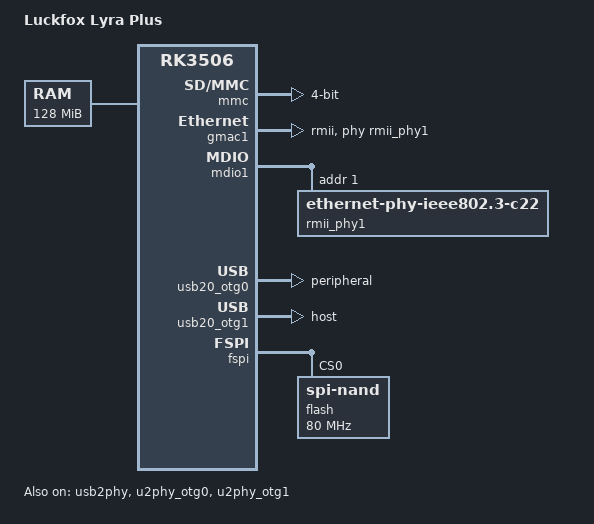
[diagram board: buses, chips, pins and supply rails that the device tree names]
// SPDX-License-Identifier: (GPL-2.0+ OR MIT)
/*
 * Luckfox Lyra Plus — Rockchip RK3506G2, SD-card boot, 10/100 Ethernet.
 *
 * Board DTS for the Rockchip vendor kernel (rockchip-linux/kernel, develop-6.1).
 * It includes the vendor SoC dtsi (rk3506.dtsi -> rk3502.dtsi + rk3506-pinctrl.dtsi),
 * so all peripherals/clocks/pinmux come from the vendor tree; we only wire the
 * board: console (FIQ-debugger on UART0 -> ttyFIQ0), removable microSD, and the
 * RMII Ethernet PHY. Console/SD/PHY stanzas are taken from the RK3506 EVB.
 */

/dts-v1/;

#include "rk3506.dtsi"

/ {
	model = "Luckfox Lyra Plus";
	compatible = "luckfox,lyra-plus", "rockchip,rk3506";

	memory@0 {
		device_type = "memory";
		/* Lyra Plus: 128 MiB on-chip DDR3 (the loader also passes the real size). */
		reg = <0x00000000 0x08000000>;
	};

	/* Debug console on UART0 via the Rockchip FIQ-debugger -> ttyFIQ0, 1.5 Mbps. */
	fiq_debugger: fiq-debugger {
		compatible = "rockchip,fiq-debugger";
		rockchip,serial-id = <0>;
		rockchip,wake-irq = <0>;
		rockchip,irq-mode-enable = <1>;
		rockchip,baudrate = <1500000>;	/* only 115200 or 1500000 */
		interrupts = <GIC_SPI 115 IRQ_TYPE_LEVEL_HIGH>;
	};
};

/* Removable microSD on the DW-MSHC controller (the EVB wires this same
 * controller to soldered SDIO Wi-Fi; here it's a real card slot). */
&mmc {
	bus-width = <4>;
	cap-sd-highspeed;
	disable-wp;
	no-mmc;
	no-sdio;
	pinctrl-names = "default";
	pinctrl-0 = <&sdmmc_clk_pins &sdmmc_cmd_pins &sdmmc_bus4_pins>;
	status = "okay";
};

/* The Lyra Plus RJ45 (CH182H2 RMII PHY, generic driver) hangs off GMAC1, not
 * the EVB's GMAC0 — Luckfox's official image probes ff4d0000.ethernet. No
 * snps,reset-gpio: the PHY comes out of reset on its own (RC circuit); the
 * EVB's GPIO0_C2 reset line is an EVB detail. */
&gmac1 {
	phy-mode = "rmii";
	clock_in_out = "output";
	pinctrl-names = "default";
	pinctrl-0 = <&eth_rmii1_miim_pins
		     &eth_rmii1_tx_bus2_pins
		     &eth_rmii1_rx_bus2_pins
		     &eth_rmii1_clk_pins>;
	phy-handle = <&rmii_phy1>;
	status = "okay";
};

&mdio1 {
	rmii_phy1: phy@1 {
		compatible = "ethernet-phy-ieee802.3-c22";
		reg = <0x1>;
	};
};

/* USB OTG0 as a peripheral (CDC-ECM + ACM gadget). The EVB uses this port in
 * host mode; we want it as a device so the board appears as a USB NIC. */
&usb2phy {
	status = "okay";
};

&u2phy_otg0 {
	status = "okay";
};

&usb20_otg0 {
	dr_mode = "peripheral";
	status = "okay";
};

/* USB OTG1 as a host — for USB devices on the second port (e.g. a UVC HDMI
 * capture card, USB storage). Needs dwc2 dual-role (see rk3506-lyra.cfg). */
&u2phy_otg1 {
	status = "okay";
};

&usb20_otg1 {
	dr_mode = "host";
	status = "okay";
};

/* Onboard 256 MiB SPI NAND (Winbond, page 2K / block 128K) on the FSPI
 * controller. Exposed as /dev/mtd* — partitions come from the mtdparts=
 * kernel cmdline (injected by U-Boot from parameter.txt on NAND boot; whole
 * device without partitions when booted from SD). Node shape from the
 * rk3502 EVB (same SoC family). */
&fspi {
	status = "okay";

	flash@0 {
		compatible = "spi-nand";
		reg = <0>;
		spi-max-frequency = <80000000>;
		spi-rx-bus-width = <4>;
		spi-tx-bus-width = <1>;
	};
};
